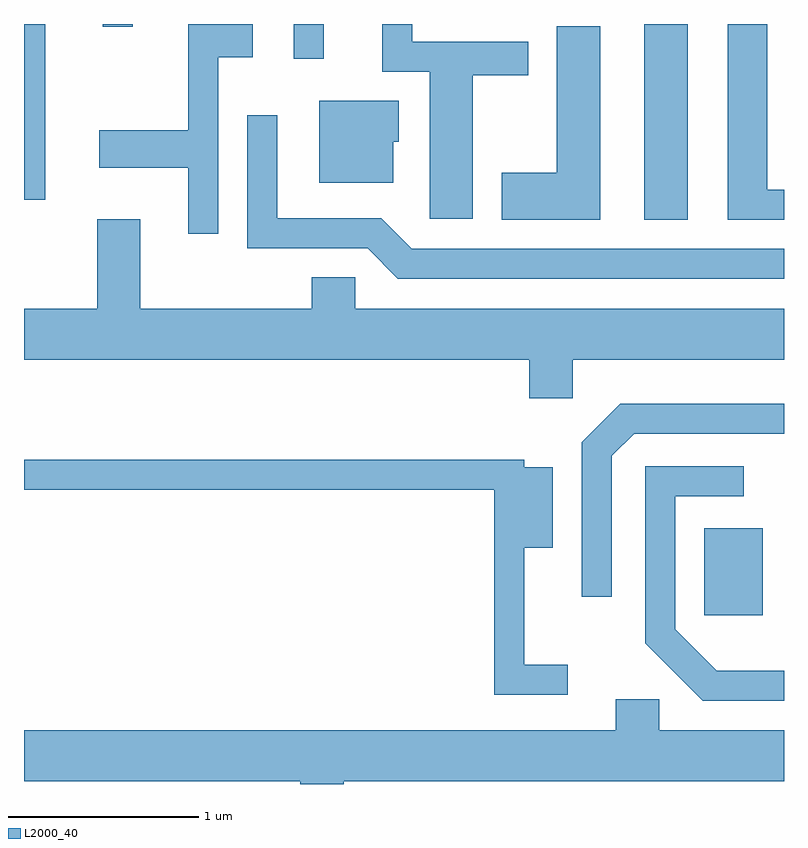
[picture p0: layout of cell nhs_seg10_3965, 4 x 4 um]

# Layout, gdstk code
import gdstk
lib = gdstk.Library(unit=1e-6, precision=1e-09)
def R(c, l, rs):  # rectangles x0, y0, x1, y1
    for r in rs: c.add(gdstk.rectangle(r[:2], r[2:], *l))
def P(c, l, *ps):  # polygons
    for p in ps: c.add(gdstk.Polygon(p, *l))
L2000_40 = (2000, 40)

nhs_seg10_3965 = lib.new_cell('nhs_seg10_3965')
R(nhs_seg10_3965, L2000_40, [(305.191,2161.411,305.499,2161.869), (304.876,2163.491,305.104,2164.522), (301.611,2163.596,301.724,2164.522), (303.031,2164.338,303.189,2164.522), (302.026,2164.508,302.184,2164.522)])
P(nhs_seg10_3965, L2000_40, [(305.611,2163.649),(305.524,2163.649),(305.524,2164.522),(305.316,2164.522),(305.316,2163.491),(305.611,2163.491)],
  [(302.634,2164.346),(302.814,2164.346),(302.814,2164.522),(302.476,2164.522),(302.476,2163.964),(302.006,2163.964),(302.006,2163.766),(302.476,2163.766),(302.476,2163.418),(302.634,2163.418)],
  [(303.974,2164.251),(304.264,2164.251),(304.264,2164.429),(303.654,2164.429),(303.654,2164.522),(303.496,2164.522),(303.496,2164.271),(303.746,2164.271),(303.746,2163.496),(303.974,2163.496)],
  [(304.644,2164.509),(304.416,2164.509),(304.416,2163.739),(304.126,2163.739),(304.126,2163.491),(304.644,2163.491)],
  [(303.554,2163.901),(303.584,2163.901),(303.584,2164.119),(303.166,2164.119),(303.166,2163.686),(303.554,2163.686)],
  [(305.611,2163.339),(303.652,2163.339),(303.492,2163.499),(302.944,2163.499),(302.944,2164.043),(302.786,2164.043),(302.786,2163.341),(303.419,2163.341),(303.579,2163.181),(305.611,2163.181)],
  [(304.499,2162.756),(305.611,2162.756),(305.611,2163.024),(303.354,2163.024),(303.354,2163.189),(303.126,2163.189),(303.126,2163.024),(302.224,2163.024),(302.224,2163.494),(301.996,2163.494),(301.996,2163.024),(301.611,2163.024),(301.611,2162.756),(304.271,2162.756),(304.271,2162.551),(304.499,2162.551)],
  [(304.704,2162.249),(304.822,2162.366),(305.611,2162.366),(305.611,2162.524),(304.749,2162.524),(304.546,2162.322),(304.546,2161.508),(304.704,2161.508)],
  [(304.473,2161.149),(304.244,2161.149),(304.244,2161.766),(304.394,2161.766),(304.394,2162.189),(304.244,2162.189),(304.244,2162.229),(301.611,2162.229),(301.611,2162.071),(304.086,2162.071),(304.086,2160.991),(304.473,2160.991)],
  [(305.611,2161.119),(305.257,2161.119),(305.039,2161.337),(305.039,2162.036),(305.398,2162.036),(305.398,2162.194),(304.881,2162.194),(304.881,2161.264),(305.184,2160.961),(305.611,2160.961)],
  [(303.294,2160.536),(305.611,2160.536),(305.611,2160.804),(304.954,2160.804),(304.954,2160.969),(304.726,2160.969),(304.726,2160.804),(301.611,2160.804),(301.611,2160.536),(303.066,2160.536),(303.066,2160.522),(303.294,2160.522)])

lib.write_gds('nhs_seg10_3965.gds')
